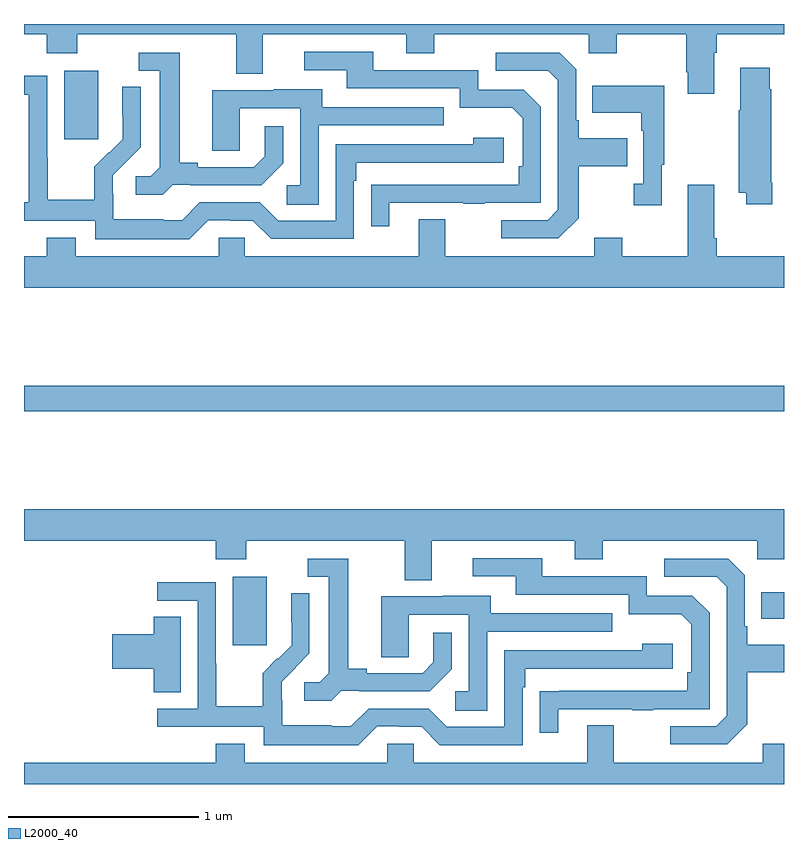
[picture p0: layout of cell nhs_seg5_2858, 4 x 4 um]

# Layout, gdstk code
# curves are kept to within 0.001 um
import gdstk
lib = gdstk.Library(unit=1e-6, precision=1e-09)
def R(c, l, rs):  # rectangles x0, y0, x1, y1
    for r in rs: c.add(gdstk.rectangle(r[:2], r[2:], *l))
def P(c, l, *ps):  # polygons
    for p in ps: c.add(gdstk.Polygon(p, *l))
L2000_40 = (2000, 40)

nhs_seg5_2858 = lib.new_cell('nhs_seg5_2858')
R(nhs_seg5_2858, L2000_40, [(278.099,869.529,278.278,869.89), (280.879,869.669,281,869.809), (277,870.76,281,870.896), (277.211,872.193,277.39,872.554)])
P(nhs_seg5_2858, L2000_40, [(280.633,872.648),(280.646,872.648),(280.646,872.744),(281,872.744),(281,872.799),(277,872.799),(277,872.744),(277.121,872.744),(277.121,872.645),(277.281,872.645),(277.281,872.744),(278.117,872.744),(278.117,872.536),(278.257,872.536),(278.257,872.744),(279.011,872.744),(279.011,872.645),(279.159,872.645),(279.159,872.744),(279.972,872.744),(279.972,872.645),(280.119,872.645),(280.119,872.744),(280.486,872.744),(280.486,872.545),(280.493,872.545),(280.493,872.433),(280.633,872.433)],
  [(278.923,871.857),(279.313,871.857),(279.313,871.852),(279.425,871.852),(279.425,871.857),(279.72,871.857),(279.72,872.364),(279.63,872.454),(279.39,872.454),(279.39,872.556),(278.839,872.556),(278.839,872.652),(278.475,872.652),(278.475,872.556),(278.699,872.556),(278.699,872.46),(279.294,872.46),(279.294,872.357),(279.571,872.357),(279.624,872.304),(279.624,872.05),(279.604,872.05),(279.604,871.953),(278.827,871.952),(278.827,871.734),(278.923,871.734)],
  [(279.919,871.777),(279.919,872.05),(280.175,872.05),(280.175,872.197),(279.919,872.197),(279.919,872.293),(279.906,872.293),(279.906,872.562),(279.819,872.649),(279.483,872.649),(279.483,872.553),(279.759,872.553),(279.81,872.502),(279.81,871.821),(279.756,871.767),(279.513,871.767),(279.513,871.671),(279.813,871.671)],
  [(277.782,871.953),(277.876,871.953),(277.876,871.95),(278.248,871.95),(278.364,872.066),(278.364,872.26),(278.267,872.26),(278.267,872.103),(278.21,872.046),(277.915,872.046),(277.915,872.069),(277.819,872.069),(277.819,872.649),(277.605,872.649),(277.605,872.553),(277.715,872.553),(277.715,872.045),(277.668,871.998),(277.587,871.998),(277.587,871.901),(277.73,871.901)],
  [(280.937,871.963),(280.932,871.963),(280.932,872.456),(280.924,872.456),(280.924,872.569),(280.769,872.569),(280.769,872.345),(280.762,872.345),(280.762,871.91),(280.802,871.91),(280.802,871.851),(280.937,871.851)],
  [(277.971,871.767),(278.087,871.767),(278.087,871.764),(278.205,871.764),(278.301,871.668),(278.736,871.668),(278.736,871.973),(278.749,871.973),(278.749,872.07),(279.526,872.07),(279.526,872.2),(279.365,872.2),(279.365,872.166),(278.64,872.166),(278.64,871.764),(278.337,871.764),(278.241,871.86),(277.926,871.86),(277.833,871.767),(277.733,871.767),(277.733,871.771),(277.47,871.771),(277.47,871.905),(277.468,871.905),(277.468,872.002),(277.614,872.15),(277.614,872.468),(277.518,872.468),(277.518,872.314),(277.52,872.314),(277.52,872.192),(277.449,872.121),(277.446,872.124),(277.369,872.047),(277.369,871.873),(277.125,871.873),(277.125,872.096),(277.122,872.096),(277.122,872.526),(277,872.526),(277,872.427),(277.026,872.427),(277.026,871.86),(277,871.86),(277,871.764),(277.374,871.764),(277.374,871.667),(277.871,871.667)],
  [(280.357,872.057),(280.369,872.057),(280.369,872.473),(279.991,872.473),(279.991,872.333),(280.248,872.333),(280.248,872.237),(280.26,872.237),(280.26,871.958),(280.209,871.958),(280.209,871.845),(280.357,871.845)],
  [(278.55,872.265),(279.209,872.265),(279.209,872.361),(278.569,872.361),(278.569,872.455),(278.315,872.455),(278.315,872.451),(277.991,872.451),(277.991,872.131),(278.136,872.131),(278.136,872.355),(278.454,872.355),(278.454,871.95),(278.382,871.95),(278.382,871.849),(278.55,871.849)],
  [(281,871.576),(280.646,871.576),(280.646,871.672),(280.633,871.672),(280.633,871.954),(280.493,871.954),(280.493,871.576),(280.149,871.576),(280.149,871.675),(280.001,871.675),(280.001,871.576),(279.217,871.576),(279.217,871.771),(279.077,871.771),(279.077,871.576),(278.163,871.576),(278.163,871.674),(278.025,871.674),(278.025,871.576),(277.273,871.576),(277.273,871.675),(277.121,871.675),(277.121,871.576),(277,871.576),(277,871.412),(281,871.412)],
  [(279.145,870.08),(279.899,870.08),(279.899,869.981),(280.047,869.981),(280.047,870.08),(280.86,870.08),(280.86,869.981),(281,869.981),(281,870.244),(277,870.244),(277,870.08),(278.009,870.08),(278.009,869.981),(278.169,869.981),(278.169,870.08),(279.005,870.08),(279.005,869.872),(279.145,869.872)],
  [(279.811,869.193),(280.201,869.193),(280.201,869.188),(280.313,869.188),(280.313,869.193),(280.608,869.193),(280.608,869.7),(280.518,869.79),(280.278,869.79),(280.278,869.892),(279.727,869.892),(279.727,869.988),(279.363,869.988),(279.363,869.892),(279.587,869.892),(279.587,869.796),(280.182,869.796),(280.182,869.693),(280.459,869.693),(280.512,869.64),(280.512,869.386),(280.492,869.386),(280.492,869.289),(279.715,869.288),(279.715,869.07),(279.811,869.07)],
  [(280.807,869.113),(280.807,869.386),(281,869.386),(281,869.533),(280.807,869.533),(280.807,869.629),(280.794,869.629),(280.794,869.898),(280.707,869.985),(280.371,869.985),(280.371,869.889),(280.647,869.889),(280.698,869.838),(280.698,869.157),(280.644,869.103),(280.401,869.103),(280.401,869.007),(280.701,869.007)],
  [(278.67,869.289),(278.764,869.289),(278.764,869.286),(279.136,869.286),(279.252,869.402),(279.252,869.596),(279.155,869.596),(279.155,869.439),(279.098,869.382),(278.803,869.382),(278.803,869.405),(278.707,869.405),(278.707,869.985),(278.493,869.985),(278.493,869.889),(278.603,869.889),(278.603,869.381),(278.556,869.334),(278.475,869.334),(278.475,869.237),(278.618,869.237)],
  [(278.859,869.103),(278.975,869.103),(278.975,869.1),(279.093,869.1),(279.189,869.004),(279.624,869.004),(279.624,869.309),(279.637,869.309),(279.637,869.406),(280.414,869.406),(280.414,869.536),(280.253,869.536),(280.253,869.502),(279.528,869.502),(279.528,869.1),(279.225,869.1),(279.129,869.196),(278.814,869.196),(278.721,869.103),(278.621,869.103),(278.621,869.107),(278.358,869.107),(278.358,869.241),(278.356,869.241),(278.356,869.338),(278.502,869.486),(278.502,869.804),(278.406,869.804),(278.406,869.65),(278.408,869.65),(278.408,869.528),(278.337,869.457),(278.334,869.46),(278.257,869.383),(278.257,869.209),(278.013,869.209),(278.013,869.432),(278.01,869.432),(278.01,869.862),(277.701,869.862),(277.701,869.763),(277.914,869.763),(277.914,869.196),(277.701,869.196),(277.701,869.1),(278.262,869.1),(278.262,869.003),(278.759,869.003)],
  [(279.438,869.601),(280.097,869.601),(280.097,869.697),(279.457,869.697),(279.457,869.791),(279.203,869.791),(279.203,869.787),(278.879,869.787),(278.879,869.467),(279.024,869.467),(279.024,869.691),(279.342,869.691),(279.342,869.286),(279.27,869.286),(279.27,869.185),(279.438,869.185)],
  [(277.825,869.678),(277.682,869.678),(277.682,869.588),(277.464,869.588),(277.464,869.405),(277.682,869.405),(277.682,869.281),(277.825,869.281)],
  [(281,869.011),(280.889,869.011),(280.889,868.912),(280.105,868.912),(280.105,869.107),(279.965,869.107),(279.965,868.912),(279.051,868.912),(279.051,869.01),(278.913,869.01),(278.913,868.912),(278.161,868.912),(278.161,869.011),(278.009,869.011),(278.009,868.912),(277,868.912),(277,868.799),(281,868.799)])

lib.write_gds('nhs_seg5_2858.gds')
